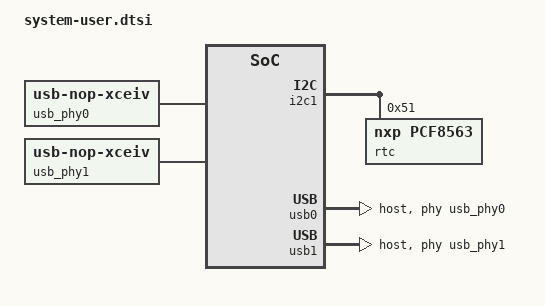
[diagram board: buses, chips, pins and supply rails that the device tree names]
/include/ "system-conf.dtsi"
/ {
    i2c1 {
        status = "okay";
        rtc@51 {
            /* nxp pcf8563 rtc */
            compatible = "nxp,pcf8563";
            reg = <0x51>;
        };
    };

/*  # It doesn't work and refer to http://www.wiki.xilinx.com/Zynq+Linux+USB+Device+Driver  
    usb_phy0: phy0 {
        compatible = "ulpi-phy";
        #phy-cells = <0>;
        reg = <0xe0002000 0x1000>;
        view-port = <0x170>;
        drv-vbus;
    };
*/
/*  It works and refer to http://zedboard.com/content/usb-host-microzed-petalinux-20172 */
    usb_phy0: usb_phy@0 {
        compatible = "usb-nop-xceiv";
        #phy-cells = <0>;
    };
    usb_phy1: usb_phy@1 {
        compatible = "usb-nop-xceiv";
        #phy-cells = <0>;
    };
};

&usb0 {
    status = "okay";
    dr_mode = "host";
    usb-phy = <&usb_phy0>;
};

&usb1 {
    status = "okay";
    dr_mode = "host";
    usb-phy = <&usb_phy1>;
};

